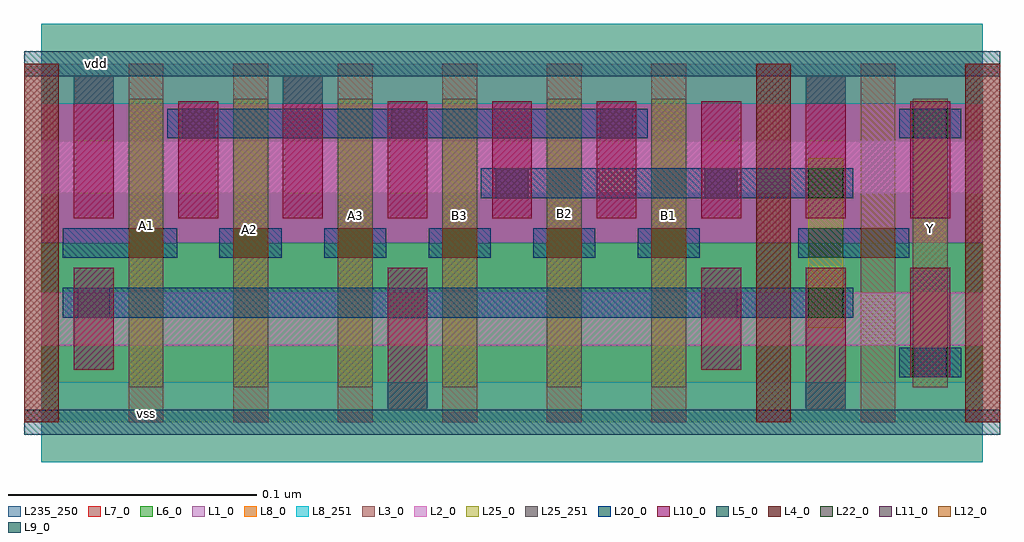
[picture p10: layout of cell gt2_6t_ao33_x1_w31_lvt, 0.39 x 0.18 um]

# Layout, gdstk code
import gdstk
lib = gdstk.Library(unit=1e-6, precision=5e-10)
def R(c, l, rs):  # rectangles x0, y0, x1, y1
    for r in rs: c.add(gdstk.rectangle(r[:2], r[2:], *l))
def A(c, l, x, y, w, h, nx, ny, dx, dy):  # array of equal rectangles
    R(c, l, [(x+i*dx, y+j*dy, x+i*dx+w, y+j*dy+h) for i in range(nx) for j in range(ny)])
L1_0 = (1, 0)
L2_0 = (2, 0)
L3_0 = (3, 0)
L4_0 = (4, 0)
L5_0 = (5, 0)
L6_0 = (6, 0)
L7_0 = (7, 0)
L8_0 = (8, 0)
L8_251 = (8, 251)
L9_0 = (9, 0)
L10_0 = (10, 0)
L11_0 = (11, 0)
L12_0 = (12, 0)
L20_0 = (20, 0)
L22_0 = (22, 0)
L25_0 = (25, 0)
L25_251 = (25, 251)
L235_250 = (235, 250)

gt2_6t_ao33_x1_w31_lvt = lib.new_cell('gt2_6t_ao33_x1_w31_lvt')
R(gt2_6t_ao33_x1_w31_lvt, L1_0, [(0,0.072,0.378,0.144)])
R(gt2_6t_ao33_x1_w31_lvt, L2_0, [(0,0.031,0.378,0.052), (0,0.092,0.378,0.113)])
A(gt2_6t_ao33_x1_w31_lvt, L3_0, -0.007, 0, 0.014, 0.144, 10, 1, 0.042, 0)
R(gt2_6t_ao33_x1_w31_lvt, L4_0, [(-0.007,0,0.007,0.144), (0.287,0,0.301,0.144), (0.371,0,0.385,0.144)])
R(gt2_6t_ao33_x1_w31_lvt, L5_0, [(-0.007,-0.005,0.385,0.005), (-0.007,0.139,0.385,0.149)])
R(gt2_6t_ao33_x1_w31_lvt, L6_0, [(0,0,0.378,0.072)])
R(gt2_6t_ao33_x1_w31_lvt, L7_0, [(0,0.072,0.378,0.144)])
R(gt2_6t_ao33_x1_w31_lvt, L8_0, [(0,-0.016,0.378,0.016), (0,0.128,0.378,0.16)])
R(gt2_6t_ao33_x1_w31_lvt, L8_251, [(0,-0.016,0.378,0.016), (0,0.128,0.378,0.16)])
R(gt2_6t_ao33_x1_w31_lvt, L9_0, [(0.139,0.005,0.155,0.016), (0.307,0.005,0.323,0.016), (0.013,0.128,0.029,0.139), (0.097,0.128,0.113,0.139), (0.307,0.128,0.323,0.139)])
A(gt2_6t_ao33_x1_w31_lvt, L10_0, 0.139, 0.082, 0.016, 0.047, 4, 1, 0.042, 0)
R(gt2_6t_ao33_x1_w31_lvt, L10_0, [(0.139,0.005,0.155,0.062), (0.307,0.005,0.323,0.062), (0.349,0.018,0.365,0.062), (0.013,0.021,0.029,0.062), (0.265,0.021,0.281,0.062), (0.013,0.082,0.029,0.139), (0.055,0.082,0.071,0.129), (0.097,0.082,0.113,0.139), (0.307,0.082,0.323,0.139), (0.349,0.082,0.365,0.129)])
A(gt2_6t_ao33_x1_w31_lvt, L11_0, 0.0565, 0.114, 0.013, 0.012, 3, 1, 0.084, 0)
R(gt2_6t_ao33_x1_w31_lvt, L11_0, [(0.3505,0.018,0.3635,0.03), (0.0145,0.042,0.0275,0.054), (0.2665,0.042,0.2795,0.054), (0.1825,0.09,0.1955,0.102), (0.2665,0.09,0.2795,0.102), (0.3505,0.114,0.3635,0.126)])
A(gt2_6t_ao33_x1_w31_lvt, L12_0, 0.035, 0.066, 0.014, 0.012, 6, 1, 0.042, 0)
R(gt2_6t_ao33_x1_w31_lvt, L12_0, [(0.329,0.066,0.343,0.078)])
A(gt2_6t_ao33_x1_w31_lvt, L20_0, 0.0715, 0.066, 0.025, 0.012, 5, 1, 0.042, 0)
R(gt2_6t_ao33_x1_w31_lvt, L20_0, [(0.3445,0.018,0.3695,0.03), (0.0085,0.042,0.326,0.054), (0.0085,0.066,0.0545,0.078), (0.304,0.066,0.3485,0.078), (0.1765,0.09,0.326,0.102), (0.0505,0.114,0.2435,0.126), (0.3445,0.114,0.3695,0.126)])
A(gt2_6t_ao33_x1_w31_lvt, L22_0, 0.308, 0.042, 0.014, 0.012, 1, 3, 0, 0.024)
A(gt2_6t_ao33_x1_w31_lvt, L22_0, 0.035, 0.066, 0.014, 0.012, 6, 1, 0.042, 0)
R(gt2_6t_ao33_x1_w31_lvt, L22_0, [(0.35,0.018,0.364,0.03), (0.35,0.114,0.364,0.126)])
A(gt2_6t_ao33_x1_w31_lvt, L25_0, 0.035, 0.014, 0.014, 0.116, 6, 1, 0.042, 0)
R(gt2_6t_ao33_x1_w31_lvt, L25_0, [(0.35,0.014,0.364,0.13), (0.308,0.038,0.322,0.106)])
A(gt2_6t_ao33_x1_w31_lvt, L25_251, 0.035, 0.014, 0.014, 0.116, 6, 1, 0.042, 0)
R(gt2_6t_ao33_x1_w31_lvt, L25_251, [(0.35,0.014,0.364,0.13)])
R(gt2_6t_ao33_x1_w31_lvt, L235_250, [(0,0,0.378,0.144)])
gt2_6t_ao33_x1_w31_lvt.add(gdstk.Label('vss', (0.042,0.0035), layer=8, texttype=251))
gt2_6t_ao33_x1_w31_lvt.add(gdstk.Label('vdd', (0.022,0.144), layer=8, texttype=251))
gt2_6t_ao33_x1_w31_lvt.add(gdstk.Label('B3', (0.168,0.083), layer=25, texttype=251))
gt2_6t_ao33_x1_w31_lvt.add(gdstk.Label('B1', (0.252,0.083), layer=25, texttype=251))
gt2_6t_ao33_x1_w31_lvt.add(gdstk.Label('A3', (0.126,0.083), layer=25, texttype=251))
gt2_6t_ao33_x1_w31_lvt.add(gdstk.Label('A1', (0.042,0.079), layer=25, texttype=251))
gt2_6t_ao33_x1_w31_lvt.add(gdstk.Label('A2', (0.0835,0.0775), layer=25, texttype=251))
gt2_6t_ao33_x1_w31_lvt.add(gdstk.Label('B2', (0.21,0.084), layer=25, texttype=251))
gt2_6t_ao33_x1_w31_lvt.add(gdstk.Label('Y', (0.357,0.078), layer=25, texttype=251))

lib.write_gds('gt2_6t_ao33_x1_w31_lvt.gds')
